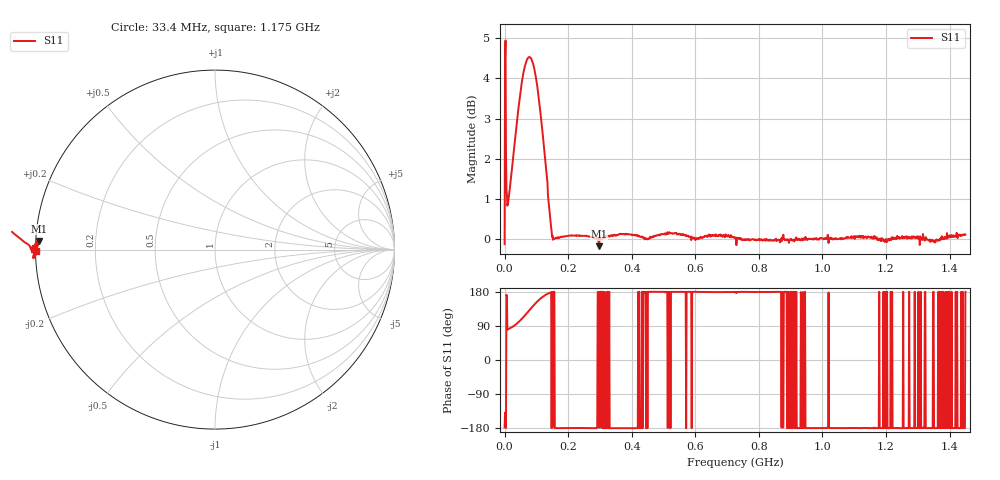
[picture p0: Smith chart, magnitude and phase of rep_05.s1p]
! Created with skrf 1.11.0 (http://scikit-rf.org).
# Hz S RI R 50.0
!freq ReS11 ImS11
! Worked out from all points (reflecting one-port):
!   1001 points, 50 kHz to 1.45 GHz, reference 50 ohm
!   lowest |S11| = -0.2 dB at 297.3 MHz (marker M1), VSWR 98.06, Z = 0.51 + j1.24 ohm
!   phase of S11 starts at -177 deg and turns -3 deg over the sweep
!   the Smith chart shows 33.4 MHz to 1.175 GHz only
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50000  -0.9845 -0.043
8749700  0.19 1.084
1.019965e7  0.1774 1.092
1.16496e7  0.1682 1.103
1.599945e7  0.1348 1.143
2.61491e7  0.0392 1.253
3.48488e7  -0.082 1.35
4.35485e7  -0.2465 1.433
5.369815e7  -0.4876 1.484
6.38478e7  -0.7575 1.456
7.399745e7  -1.018 1.336
8.7047e7  -1.276 1.069
9.86466e7  -1.385 0.7768
1.073463e8  -1.39 0.5631
1.17496e8  -1.334 0.3529
1.261956e8  -1.258 0.2135
1.363453e8  -1.13 0.0988
1.45045e8  -1.046 0.0327
1.522948e8  -0.9977 0.02
1.812938e8  -1.006 -0.00669
2.972898e8  -0.9786 0.0485
3.625375e8  -1.015 -0.00011
5.437812e8  -1.013 0.00206
7.25025e8  -1.002 0.0239
9.062688e8  -0.9958 -0.00379
1.087512e9  -1.005 -0.00924
1.268756e9  -1.007 -0.00387
1.45e9  -1.013 0.000109
